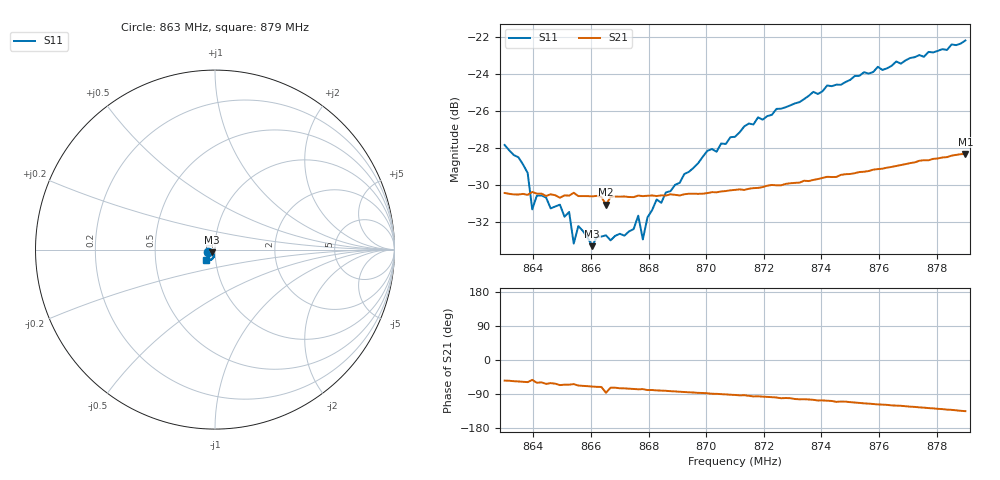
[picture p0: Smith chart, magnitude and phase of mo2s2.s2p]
# HZ S RI R 50
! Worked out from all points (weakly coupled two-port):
!   101 points, 863 MHz to 879 MHz, reference 50 ohm
!   highest |S21| = -28.33 dB at 879 MHz (marker M1); lowest = -31.1 dB at 866.52 MHz (marker M2)
!   lowest |S11| = -33.3 dB at 866.04 MHz (marker M3), VSWR 1.04, Z = 48.4 - j1.39 ohm
!   |S11| at or under -10 dB: start of sweep to end of sweep
!   S12 and S22 are empty: the file has one direction only
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8.63e8  -0.0387 -0.012  0.0175 -0.0244  0 0  0 0
8.638e8  -0.0323 -0.0107  0.0156 -0.0253  0 0  0 0
8.6396e8  -0.0255 -0.00931  0.0184 -0.024  0 0  0 0
8.6428e8  -0.0274 -0.0111  0.0154 -0.0256  0 0  0 0
8.6508e8  -0.0227 -0.0125  0.0125 -0.0269  0 0  0 0
8.6524e8  -0.0228 -0.0139  0.0124 -0.0268  0 0  0 0
8.654e8  -0.0187 -0.0115  0.0134 -0.027  0 0  0 0
8.6556e8  -0.0204 -0.0134  0.0113 -0.0272  0 0  0 0
8.6572e8  -0.0188 -0.0145  0.0109 -0.0274  0 0  0 0
8.6604e8  -0.0161 -0.0144  0.01 -0.0277  0 0  0 0
8.6652e8  -0.0135 -0.0187  0.00176 -0.0279  0 0  0 0
8.6716e8  -0.0105 -0.0205  0.00769 -0.0284  0 0  0 0
8.6764e8  -0.0109 -0.0237  0.00649 -0.0288  0 0  0 0
8.678e8  -0.0101 -0.0201  0.00674 -0.0287  0 0  0 0
8.6796e8  -0.0078 -0.0246  0.00547 -0.029  0 0  0 0
8.6828e8  -0.00725 -0.0279  0.005 -0.029  0 0  0 0
8.6844e8  -0.00775 -0.0272  0.00477 -0.0292  0 0  0 0
8.7004e8  -0.00693 -0.0384  0.0011 -0.03  0 0  0 0
8.71e8  -0.00819 -0.0418  -0.00119 -0.0306  0 0  0 0
8.7372e8  -0.0173 -0.0537  -0.00846 -0.0315  0 0  0 0
8.7644e8  -0.0312 -0.0585  -0.0175 -0.0307  0 0  0 0
8.79e8  -0.0494 -0.0599  -0.0271 -0.0271  0 0  0 0
